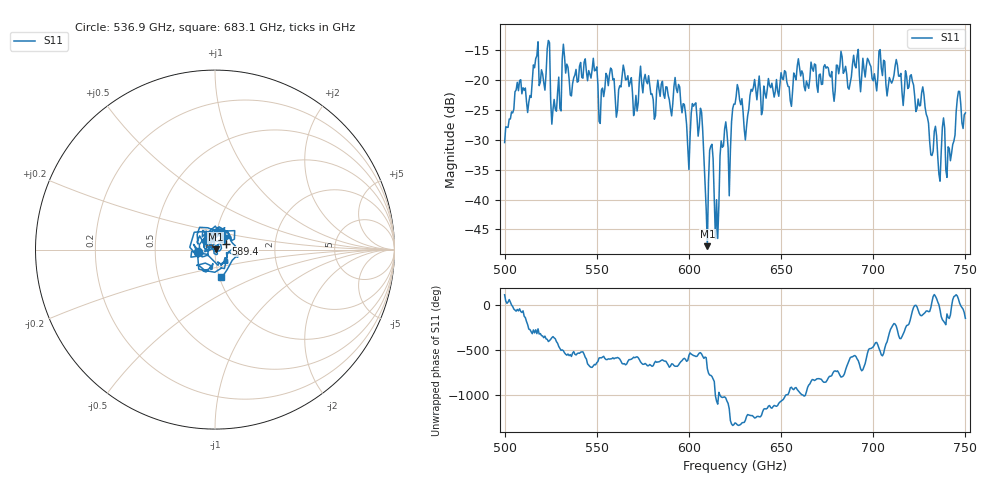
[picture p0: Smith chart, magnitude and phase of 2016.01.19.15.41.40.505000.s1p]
!Created with skrf (http://scikit-rf.org).
# GHz S RI R 50.0
!freq ReS11 ImS11
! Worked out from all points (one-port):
!   401 points, 500 GHz to 750 GHz, reference 50 ohm
!   lowest |S11| = -47.8 dB at 610 GHz (marker M1), VSWR 1.01, Z = 50.4 + j0.0836 ohm
!   |S11| at or under -10 dB: start of sweep to end of sweep
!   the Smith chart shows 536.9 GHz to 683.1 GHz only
!   S11 on the Smith chart (normalised r, x): 536.9 GHz: 0.83, -0.02; 589.4 GHz: 1.12, +0.08; 683.1 GHz: 1.02, -0.32
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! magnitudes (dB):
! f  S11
! 500 GHz  -30.4
! 513.1 GHz  -23.7
! 516.9 GHz  -16.4
! 523.8 GHz  -13.4
! 526.9 GHz  -23.2
! 531.2 GHz  -16.6
! 536.9 GHz  -20.6
! 562.5 GHz  -20.9
! 589.4 GHz  -23.3
! 593.8 GHz  -22.1
! 599.4 GHz  -31.2
! 606.2 GHz  -24.7
! 610 GHz  -47.8
! 611.9 GHz  -31.1
! 615 GHz  -40.0
! 618.1 GHz  -31.2
! 621.9 GHz  -39.4
! 625 GHz  -24.0
! 630.6 GHz  -30.0
! 635 GHz  -21.2
! 656.2 GHz  -21.8
! 683.1 GHz  -16.1
! 687.5 GHz  -20.5
! 718.8 GHz  -21.4
! 735.6 GHz  -35.7
! 743.1 GHz  -30.8
! 746.2 GHz  -21.9
! 750 GHz  -25.5
